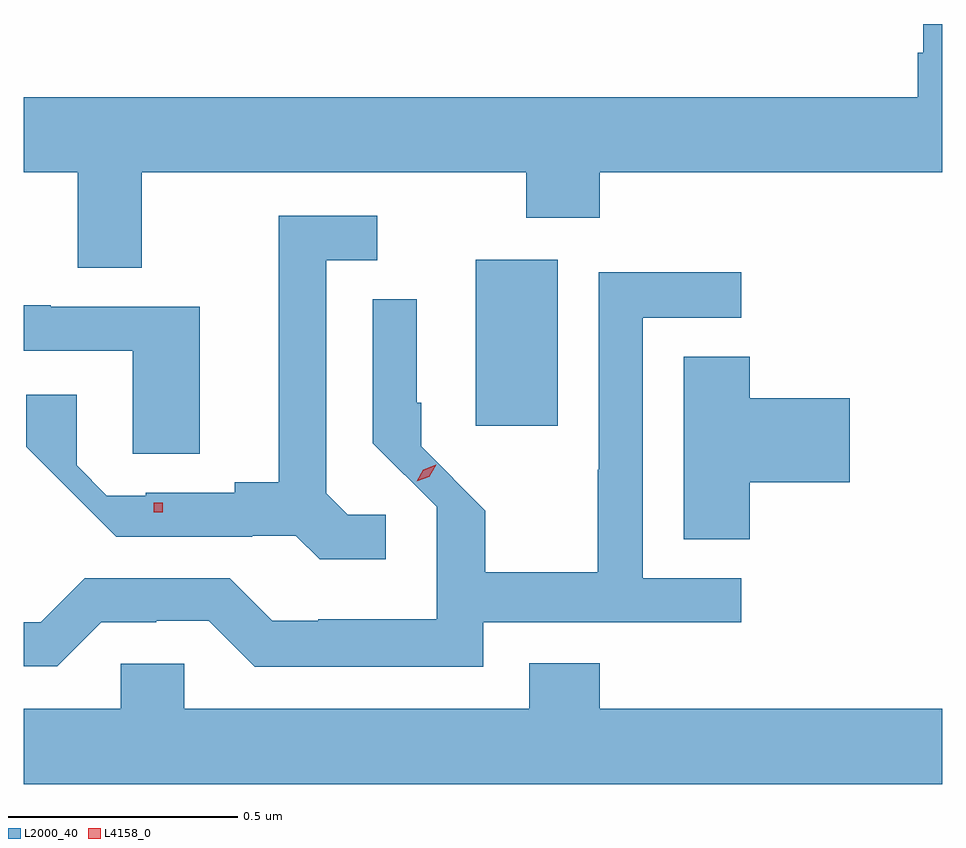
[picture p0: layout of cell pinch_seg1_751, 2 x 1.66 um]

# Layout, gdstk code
import gdstk
lib = gdstk.Library(unit=1e-6, precision=1e-09)
def R(c, l, rs):  # rectangles x0, y0, x1, y1
    for r in rs: c.add(gdstk.rectangle(r[:2], r[2:], *l))
def P(c, l, *ps):  # polygons
    for p in ps: c.add(gdstk.Polygon(p, *l))
L2000_40 = (2000, 40)
L4158_0 = (4158, 0)

pinch_seg1_751 = lib.new_cell('pinch_seg1_751')
R(pinch_seg1_751, L2000_40, [(641.534,504.56,641.713,504.922)])
P(pinch_seg1_751, L2000_40, [(640.807,505.112),(641.644,505.112),(641.644,505.013),(641.804,505.013),(641.804,505.112),(642.55,505.112),(642.55,505.435),(642.509,505.435),(642.509,505.372),(642.497,505.372),(642.497,505.276),(640.55,505.276),(640.55,505.112),(640.667,505.112),(640.667,504.904),(640.807,504.904)],
  [(641.338,504.366),(641.256,504.366),(641.209,504.413),(641.209,504.921),(641.32,504.921),(641.32,505.017),(641.105,505.017),(641.105,504.437),(641.009,504.437),(641.009,504.414),(640.816,504.414),(640.816,504.408),(640.731,504.408),(640.665,504.474),(640.665,504.628),(640.555,504.628),(640.555,504.514),(640.751,504.318),(641.048,504.318),(641.048,504.321),(641.142,504.321),(641.194,504.269),(641.338,504.269)],
  [(641.55,504.132),(642.112,504.132),(642.112,504.228),(641.898,504.228),(641.898,504.795),(642.112,504.795),(642.112,504.894),(641.802,504.894),(641.802,504.464),(641.8,504.464),(641.8,504.241),(641.555,504.241),(641.555,504.375),(641.415,504.515),(641.415,504.61),(641.406,504.61),(641.406,504.836),(641.31,504.836),(641.31,504.522),(641.449,504.384),(641.449,504.139),(641.191,504.139),(641.191,504.135),(641.091,504.135),(640.998,504.228),(640.683,504.228),(640.587,504.132),(640.55,504.132),(640.55,504.036),(640.623,504.036),(640.719,504.132),(640.838,504.132),(640.838,504.135),(640.953,504.135),(641.053,504.035),(641.55,504.035)],
  [(640.933,504.819),(640.609,504.819),(640.609,504.823),(640.55,504.823),(640.55,504.723),(640.787,504.723),(640.787,504.499),(640.933,504.499)],
  [(642.131,504.437),(642.349,504.437),(642.349,504.62),(642.131,504.62),(642.131,504.71),(641.987,504.71),(641.987,504.313),(642.131,504.313)],
  [(642.55,503.944),(641.804,503.944),(641.804,504.043),(641.651,504.043),(641.651,503.944),(640.899,503.944),(640.899,504.042),(640.761,504.042),(640.761,503.944),(640.55,503.944),(640.55,503.78),(642.55,503.78)])
R(pinch_seg1_751, L4158_0, [(640.833,504.372,640.853,504.392)])
P(pinch_seg1_751, L4158_0, [(641.406,504.439),(641.406,504.439),(641.42,504.464),(641.447,504.475),(641.448,504.475),(641.448,504.475),(641.433,504.449),(641.406,504.439)])

lib.write_gds('pinch_seg1_751.gds')
